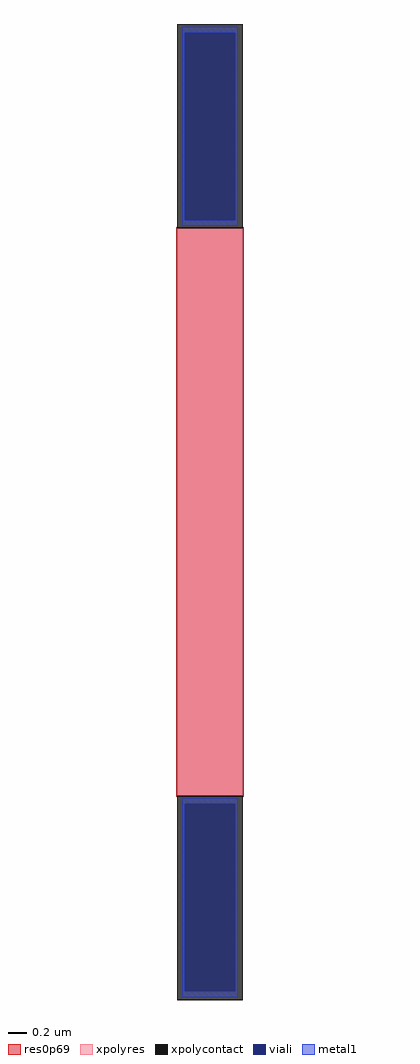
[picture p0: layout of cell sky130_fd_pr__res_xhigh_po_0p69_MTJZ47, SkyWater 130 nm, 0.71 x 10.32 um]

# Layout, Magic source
magic
tech sky130A
magscale 1 2
<< xpolycontact >>
rect -69 600 69 1032
rect -69 -1032 69 -600
<< xpolyres >>
rect -69 -600 69 600
<< viali >>
rect -53 617 53 1014
rect -53 -1014 53 -617
<< metal1 >>
rect -59 1014 59 1026
rect -59 617 -53 1014
rect 53 617 59 1014
rect -59 605 59 617
rect -59 -617 59 -605
rect -59 -1014 -53 -617
rect 53 -1014 59 -617
rect -59 -1026 59 -1014
<< res0p69 >>
rect -71 -602 71 602
<< properties >>
string gencell sky130_fd_pr__res_xhigh_po_0p69
string library sky130
string parameters w 0.690 l 6.0 m 1 nx 1 wmin 0.690 lmin 0.50 rho 2000 val 17.936k dummy 0 dw 0.0 term 188.2 sterm 0.0 caplen 0 wmax 0.690 guard 0 glc 1 grc 1 gtc 1 gbc 1 compatible {sky130_fd_pr__res_xhigh_po_0p35  sky130_fd_pr__res_xhigh_po_0p69 sky130_fd_pr__res_xhigh_po_1p41  sky130_fd_pr__res_xhigh_po_2p85 sky130_fd_pr__res_xhigh_po_5p73} snake 0 full_metal 0 n_guard 0 hv_guard 0 vias 1 viagb 0 viagt 0 viagl 0 viagr 0
<< end >>
